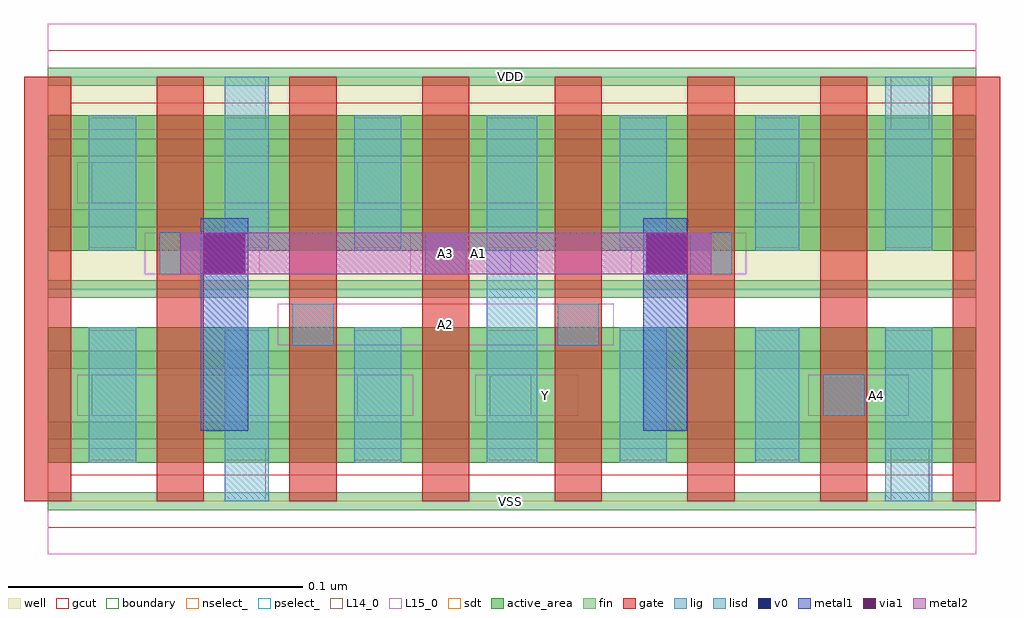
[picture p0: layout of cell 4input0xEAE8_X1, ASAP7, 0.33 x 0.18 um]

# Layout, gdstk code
import gdstk
lib = gdstk.Library(unit=1e-6, precision=1e-09)
def R(c, l, rs):  # rectangles x0, y0, x1, y1
    for r in rs: c.add(gdstk.rectangle(r[:2], r[2:], *l))
def A(c, l, x, y, w, h, nx, ny, dx, dy):  # array of equal rectangles
    R(c, l, [(x+i*dx, y+j*dy, x+i*dx+w, y+j*dy+h) for i in range(nx) for j in range(ny)])
def P(c, l, *ps):  # polygons
    for p in ps: c.add(gdstk.Polygon(p, *l))
well = (1, 0)
fin = (2, 0)
gate = (7, 0)
gcut = (10, 0)
active_area = (11, 0)
nselect_ = (12, 0)
pselect_ = (13, 0)
L14_0 = (14, 0)
L15_0 = (15, 0)
lig = (16, 0)
lisd = (17, 0)
v0 = (18, 0)
metal1 = (19, 0)
metal2 = (20, 0)
via1 = (21, 0)
sdt = (88, 0)
boundary = (100, 0)

c_4input0xeae8_x1 = lib.new_cell('4input0xEAE8_X1')
R(c_4input0xeae8_x1, well, [(0,0.072,0.315,0.144)])
A(c_4input0xeae8_x1, fin, 0, -0.003, 0.315, 0.006, 1, 7, 0, 0.024)
A(c_4input0xeae8_x1, gate, -0.008, 0, 0.016, 0.144, 8, 1, 0.045, 0)
P(c_4input0xeae8_x1, gcut, [(0,-0.009),(0,0),(-0.008,0),(-0.008,0.135),(0.008,0.135),(0.008,0.009),(0.307,0.009),(0.307,0.135),(-0.008,0.135),(-0.008,0.144),(0,0.144),(0,0.153),(0.315,0.153),(0.315,0.144),(0.323,0.144),(0.323,0),(0.315,0),(0.315,-0.009)])
R(c_4input0xeae8_x1, active_area, [(0,0.013,0.315,0.059), (0,0.085,0.315,0.131)])
R(c_4input0xeae8_x1, nselect_, [(0,0,0.315,0.072)])
R(c_4input0xeae8_x1, pselect_, [(0,0.072,0.315,0.144)])
A(c_4input0xeae8_x1, L14_0, 0.038, 0.077, 0.014, 0.014, 3, 1, 0.09, 0)
R(c_4input0xeae8_x1, L14_0, [(0.06,0,0.074,0.018), (0.286,0,0.299,0.018), (0.015,0.029,0.03,0.043), (0.105,0.029,0.12,0.043), (0.15,0.029,0.164,0.043), (0.263,0.029,0.277,0.043), (0.083,0.053,0.097,0.067), (0.173,0.053,0.187,0.067), (0.015,0.101,0.03,0.115), (0.105,0.101,0.12,0.115), (0.24,0.101,0.254,0.115), (0.06,0.126,0.074,0.144), (0.286,0.126,0.299,0.144)])
R(c_4input0xeae8_x1, L15_0, [(0,-0.018,0.315,0.018), (0.01,0.029,0.124,0.043), (0.145,0.029,0.18,0.043), (0.258,0.029,0.292,0.043), (0.078,0.053,0.192,0.067), (0.033,0.077,0.072,0.091), (0.123,0.077,0.157,0.091), (0.198,0.077,0.237,0.091), (0.01,0.101,0.26,0.115), (0,0.126,0.315,0.162)])
A(c_4input0xeae8_x1, lig, 0.038, 0.077, 0.014, 0.014, 3, 1, 0.09, 0)
R(c_4input0xeae8_x1, lig, [(0.263,0.029,0.277,0.043), (0.083,0.053,0.097,0.067), (0.173,0.053,0.187,0.067)])
A(c_4input0xeae8_x1, lisd, 0.014, 0.013, 0.016, 0.046, 3, 2, 0.09, 0.072)
R(c_4input0xeae8_x1, lisd, [(0.06,0,0.075,0.059), (0.284,0,0.3,0.059), (0.149,0.013,0.166,0.131), (0.24,0.013,0.255,0.059), (0.06,0.085,0.075,0.144), (0.24,0.085,0.255,0.131), (0.284,0.085,0.3,0.144)])
R(c_4input0xeae8_x1, v0, [(0.053,0.077,0.067,0.091), (0.203,0.077,0.217,0.091)])
R(c_4input0xeae8_x1, metal1, [(0.052,0.024,0.068,0.096), (0.202,0.024,0.217,0.096)])
R(c_4input0xeae8_x1, metal2, [(0.045,0.077,0.225,0.091)])
R(c_4input0xeae8_x1, via1, [(0.053,0.077,0.067,0.091), (0.203,0.077,0.217,0.091)])
A(c_4input0xeae8_x1, sdt, 0.014, 0.014, 0.016, 0.044, 4, 2, 0.09, 0.072)
R(c_4input0xeae8_x1, sdt, [(0.06,0.014,0.075,0.058), (0.149,0.014,0.166,0.058), (0.24,0.014,0.255,0.058), (0.06,0.086,0.075,0.13), (0.149,0.086,0.166,0.13), (0.24,0.086,0.255,0.13)])
R(c_4input0xeae8_x1, boundary, [(0,0,0.315,0.144)])
c_4input0xeae8_x1.add(gdstk.Label('A1', (0.146,0.084), layer=15, texttype=251))
c_4input0xeae8_x1.add(gdstk.Label('VSS', (0.157,0), layer=15, texttype=251))
c_4input0xeae8_x1.add(gdstk.Label('VDD', (0.157,0.144), layer=15, texttype=251))
c_4input0xeae8_x1.add(gdstk.Label('A2', (0.135,0.06), layer=15, texttype=251))
c_4input0xeae8_x1.add(gdstk.Label('VSS', (0.157,0), layer=15, texttype=251))
c_4input0xeae8_x1.add(gdstk.Label('VDD', (0.157,0.144), layer=15, texttype=251))
c_4input0xeae8_x1.add(gdstk.Label('A4', (0.281,0.036), layer=15, texttype=251))
c_4input0xeae8_x1.add(gdstk.Label('VSS', (0.157,0), layer=15, texttype=251))
c_4input0xeae8_x1.add(gdstk.Label('VDD', (0.157,0.144), layer=15, texttype=251))
c_4input0xeae8_x1.add(gdstk.Label('VSS', (0.157,0), layer=15, texttype=251))
c_4input0xeae8_x1.add(gdstk.Label('VDD', (0.157,0.144), layer=15, texttype=251))
c_4input0xeae8_x1.add(gdstk.Label('Y', (0.169,0.036), layer=15, texttype=251))
c_4input0xeae8_x1.add(gdstk.Label('VSS', (0.157,0), layer=15, texttype=251))
c_4input0xeae8_x1.add(gdstk.Label('VDD', (0.157,0.144), layer=15, texttype=251))
c_4input0xeae8_x1.add(gdstk.Label('VSS', (0.157,0), layer=3, texttype=251))
c_4input0xeae8_x1.add(gdstk.Label('VSS', (0.157,0), layer=3, texttype=251))
c_4input0xeae8_x1.add(gdstk.Label('VSS', (0.157,0), layer=3, texttype=251))
c_4input0xeae8_x1.add(gdstk.Label('VSS', (0.157,0), layer=3, texttype=251))
c_4input0xeae8_x1.add(gdstk.Label('VSS', (0.157,0), layer=3, texttype=251))
c_4input0xeae8_x1.add(gdstk.Label('VDD', (0.157,0.144), layer=1, texttype=251))
c_4input0xeae8_x1.add(gdstk.Label('VDD', (0.157,0.144), layer=1, texttype=251))
c_4input0xeae8_x1.add(gdstk.Label('VDD', (0.157,0.144), layer=1, texttype=251))
c_4input0xeae8_x1.add(gdstk.Label('VDD', (0.157,0.144), layer=1, texttype=251))
c_4input0xeae8_x1.add(gdstk.Label('VDD', (0.157,0.144), layer=1, texttype=251))
c_4input0xeae8_x1.add(gdstk.Label('A3', (0.135,0.084), layer=20, texttype=251))

lib.write_gds('4input0xEAE8_X1.gds')
